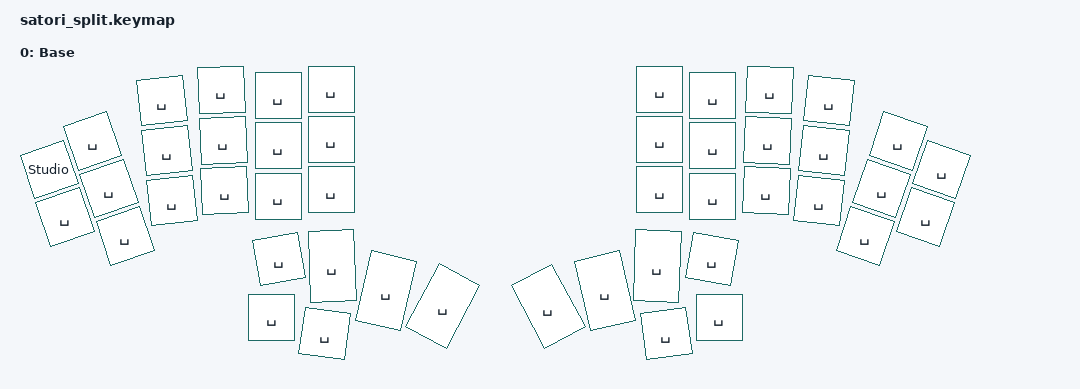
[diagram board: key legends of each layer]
#include <behaviors.dtsi>
#include <dt-bindings/zmk/keys.h>

/ {
    keymap {
        compatible = "zmk,keymap";

        default_layer { /* Layer 0 – Base */
            display-name = "Base";
            /* The order of the bindings must match the order of the keys produced
             * by your matrix transform, reading left-to-right, top-to-bottom.
             *
             * For our example matrix transform, the left half includes:
             *   Row 0: 6 keys   (first key will be unlock)
             *   Row 1: 6 keys
             *   Row 2: 5 keys   (a physical key is missing so only five entries)
             *   Row 3: 6 keys
             *
             * The right half includes the same number of keys:
             *   Row 0: 6 keys
             *   Row 1: 6 keys
             *   Row 2: 5 keys
             *   Row 3: 6 keys
             *
             * Total: 46 key positions.
             */

            bindings = <
                /* Left Half, Row 0 (6 keys) */
                &studio_unlock   &kp SPACE   &kp SPACE   &kp SPACE   &kp SPACE   &kp SPACE

                /* Left Half, Row 1 (6 keys) */
                &kp SPACE   &kp SPACE   &kp SPACE   &kp SPACE   &kp SPACE   &kp SPACE

                /* Left Half, Row 2 (5 keys) */
                &kp SPACE   &kp SPACE   &kp SPACE   &kp SPACE   &kp SPACE

                /* Left Half, Row 3 (6 keys) */
                &kp SPACE   &kp SPACE   &kp SPACE   &kp SPACE   &kp SPACE   &kp SPACE

                /* Right Half, Row 0 (6 keys) */
                &kp SPACE   &kp SPACE   &kp SPACE   &kp SPACE   &kp SPACE   &kp SPACE

                /* Right Half, Row 1 (6 keys) */
                &kp SPACE   &kp SPACE   &kp SPACE   &kp SPACE   &kp SPACE   &kp SPACE

                /* Right Half, Row 2 (5 keys) */
                &kp SPACE   &kp SPACE   &kp SPACE   &kp SPACE   &kp SPACE

                /* Right Half, Row 3 (6 keys) */
                &kp SPACE   &kp SPACE   &kp SPACE   &kp SPACE   &kp SPACE   &kp SPACE
            >;
        };
    };
};
